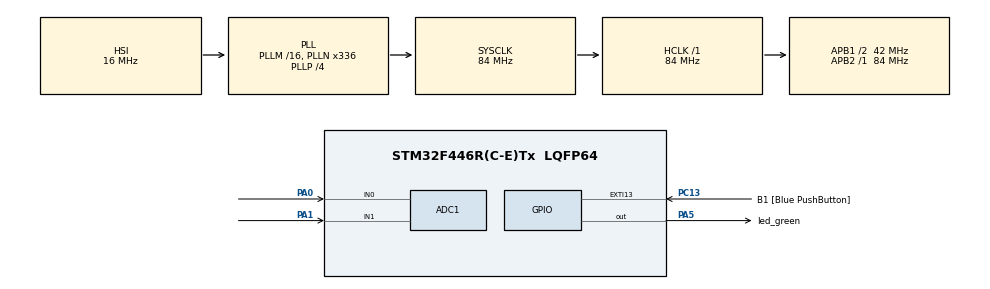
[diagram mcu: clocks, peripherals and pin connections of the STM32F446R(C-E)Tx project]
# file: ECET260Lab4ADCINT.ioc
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ADC1.Channel-3\#ChannelRegularConversion=ADC_CHANNEL_0
ADC1.Channel-4\#ChannelRegularConversion=ADC_CHANNEL_1
ADC1.Channel-5\#ChannelRegularConversion=ADC_CHANNEL_TEMPSENSOR
ADC1.NbrOfConversion=3
ADC1.NbrOfConversionFlag=1
ADC1.Rank-3\#ChannelRegularConversion=1
ADC1.Rank-4\#ChannelRegularConversion=2
ADC1.Rank-5\#ChannelRegularConversion=3
ADC1.SamplingTime-3\#ChannelRegularConversion=ADC_SAMPLETIME_84CYCLES
ADC1.SamplingTime-4\#ChannelRegularConversion=ADC_SAMPLETIME_84CYCLES
ADC1.SamplingTime-5\#ChannelRegularConversion=ADC_SAMPLETIME_84CYCLES
ADC1.master=1
Mcu.Family=STM32F4
Mcu.Name=STM32F446R(C-E)Tx
Mcu.Package=LQFP64
NVIC.ADC_IRQn=true\:0\:0\:false\:false\:true\:true\:true\:true
NVIC.PriorityGroup=NVIC_PRIORITYGROUP_0
PA0-WKUP.Signal=ADCx_IN0
PA1.Signal=ADCx_IN1
PA13.GPIO_Label=TMS
PA13.Mode=Trace_Asynchronous_SW
PA13.Signal=SYS_JTMS-SWDIO
PA14.GPIO_Label=TCK
PA14.Mode=Trace_Asynchronous_SW
PA14.Signal=SYS_JTCK-SWCLK
PA3.GPIO_Label=USART_RX
PA3.Signal=USART2_RX
PA5.GPIO_Label=led_green
PA5.Signal=GPIO_Output
PB3.GPIO_Label=SWO
PB3.Mode=Trace_Asynchronous_SW
PB3.Signal=SYS_JTDO-SWO
PC13.GPIO_Label=B1 [Blue PushButton]
PC13.GPIO_ModeDefaultEXTI=GPIO_MODE_IT_FALLING
PC13.Signal=GPXTI13
PC14-OSC32_IN.Mode=LSE-External-Oscillator
PC14-OSC32_IN.Signal=RCC_OSC32_IN
PC15-OSC32_OUT.Mode=LSE-External-Oscillator
PC15-OSC32_OUT.Signal=RCC_OSC32_OUT
PH0-OSC_IN.Mode=HSE-External-Oscillator
PH0-OSC_IN.Signal=RCC_OSC_IN
PH1-OSC_OUT.Mode=HSE-External-Oscillator
PH1-OSC_OUT.Signal=RCC_OSC_OUT
ProjectManager.HeapSize=0x200
ProjectManager.StackSize=0x400
ProjectManager.TargetToolchain=STM32CubeIDE
RCC.48MHZClocksFreq_Value=84000000
RCC.AHBFreq_Value=84000000
RCC.APB1CLKDivider=RCC_HCLK_DIV2
RCC.APB1Freq_Value=42000000
RCC.APB1TimFreq_Value=84000000
RCC.APB2Freq_Value=84000000
RCC.APB2TimFreq_Value=84000000
RCC.CortexFreq_Value=84000000
RCC.FLatency-AdvancedSettings=FLASH_LATENCY_2
RCC.HCLKFreq_Value=84000000
RCC.HSE_VALUE=8000000
RCC.HSI_VALUE=16000000
RCC.PLLN=336
RCC.PLLP=RCC_PLLP_DIV4
RCC.SYSCLKFreq_VALUE=84000000
RCC.SYSCLKSource=RCC_SYSCLKSOURCE_PLLCLK
RCC.USBFreq_Value=168000000
RCC.VCOOutputFreq_Value=336000000
SH.ADCx_IN0.0=ADC1_IN0,IN0
SH.ADCx_IN1.0=ADC1_IN1,IN1
VP_ADC1_TempSens_Input.Mode=IN-TempSens
board=NUCLEO-F446RE

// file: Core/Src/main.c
/* USER CODE BEGIN Header */
/**
  ******************************************************************************
  * @file           : main.c
  * @brief          : Main program body
  ******************************************************************************
  * @attention
  *
  * Copyright (c) 2023 STMicroelectronics.
  * All rights reserved.
  *
  * This software is licensed under terms that can be found in the LICENSE file
  * in the root directory of this software component.
  * If no LICENSE file comes with this software, it is provided AS-IS.
  *
  ******************************************************************************
  */
/* USER CODE END Header */
#include "main.h"

ADC_HandleTypeDef hadc1;

/* USER CODE BEGIN PV */
uint16_t adcResults[3];

uint16_t ledBlinkDelay = 250;
int32_t ledBlinkTimerStart = -1;
uint8_t ledBlinkState = 0;

uint16_t adcMeasureDelay = 1000;
int32_t adcMeasureTimerStart = -1;

uint16_t printDelay = 1000;
int32_t printTimerStart = -1;

/* USER CODE END PV */

void SystemClock_Config(void);
static void MX_GPIO_Init(void);
static void MX_ADC1_Init(void);

int main(void)
{

  /* MCU Configuration--------------------------------------------------------*/

  /* Reset of all peripherals, Initializes the Flash interface and the Systick. */
  HAL_Init();

  /* Configure the system clock */
  SystemClock_Config();

  /* Initialize all configured peripherals */
  MX_GPIO_Init();
  MX_ADC1_Init();

  /* Infinite loop */
  /* USER CODE BEGIN WHILE */
  while (1)
  {
	  if(uwTick >= (ledBlinkTimerStart + ledBlinkDelay)){
		  ledBlinkState = !ledBlinkState;
		  if(ledBlinkState){
			  HAL_GPIO_WritePin(led_green_GPIO_Port, led_green_Pin, GPIO_PIN_SET);
		  }else{
			  HAL_GPIO_WritePin(led_green_GPIO_Port, led_green_Pin, GPIO_PIN_RESET);
		  }
		  ledBlinkTimerStart = uwTick;

	  }
	  if(uwTick >= (adcMeasureTimerStart + adcMeasureDelay)){
		  //Start ADC
		  HAL_ADC_Start_IT(&hadc1);
		  adcMeasureTimerStart = uwTick;
	  }
	  if(uwTick >= (printTimerStart + printDelay)){
		  printTimerStart = uwTick;
		  //printf
	  }
    /* USER CODE END WHILE */

  }
}

void SystemClock_Config(void)
{
  RCC_OscInitTypeDef RCC_OscInitStruct = {0};
  RCC_ClkInitTypeDef RCC_ClkInitStruct = {0};

  /** Configure the main internal regulator output voltage
  */
  __HAL_RCC_PWR_CLK_ENABLE();
  __HAL_PWR_VOLTAGESCALING_CONFIG(PWR_REGULATOR_VOLTAGE_SCALE3);

  /** Initializes the RCC Oscillators according to the specified parameters
  * in the RCC_OscInitTypeDef structure.
  */
  RCC_OscInitStruct.OscillatorType = RCC_OSCILLATORTYPE_HSI;
  RCC_OscInitStruct.HSIState = RCC_HSI_ON;
  RCC_OscInitStruct.HSICalibrationValue = RCC_HSICALIBRATION_DEFAULT;
  RCC_OscInitStruct.PLL.PLLState = RCC_PLL_ON;
  RCC_OscInitStruct.PLL.PLLSource = RCC_PLLSOURCE_HSI;
  RCC_OscInitStruct.PLL.PLLM = 16;
  RCC_OscInitStruct.PLL.PLLN = 336;
  RCC_OscInitStruct.PLL.PLLP = RCC_PLLP_DIV4;
  RCC_OscInitStruct.PLL.PLLQ = 2;
  RCC_OscInitStruct.PLL.PLLR = 2;
  if (HAL_RCC_OscConfig(&RCC_OscInitStruct) != HAL_OK)
  {
    Error_Handler();
  }

  /** Initializes the CPU, AHB and APB buses clocks
  */
  RCC_ClkInitStruct.ClockType = RCC_CLOCKTYPE_HCLK|RCC_CLOCKTYPE_SYSCLK
                              |RCC_CLOCKTYPE_PCLK1|RCC_CLOCKTYPE_PCLK2;
  RCC_ClkInitStruct.SYSCLKSource = RCC_SYSCLKSOURCE_PLLCLK;
  RCC_ClkInitStruct.AHBCLKDivider = RCC_SYSCLK_DIV1;
  RCC_ClkInitStruct.APB1CLKDivider = RCC_HCLK_DIV2;
  RCC_ClkInitStruct.APB2CLKDivider = RCC_HCLK_DIV1;

  if (HAL_RCC_ClockConfig(&RCC_ClkInitStruct, FLASH_LATENCY_2) != HAL_OK)
  {
    Error_Handler();
  }
}

static void MX_ADC1_Init(void)
{

  ADC_ChannelConfTypeDef sConfig = {0};

  /** Configure the global features of the ADC (Clock, Resolution, Data Alignment and number of conversion)
  */
  hadc1.Instance = ADC1;
  hadc1.Init.ClockPrescaler = ADC_CLOCK_SYNC_PCLK_DIV4;
  hadc1.Init.Resolution = ADC_RESOLUTION_12B;
  hadc1.Init.ScanConvMode = ENABLE;
  hadc1.Init.ContinuousConvMode = DISABLE;
  hadc1.Init.DiscontinuousConvMode = DISABLE;
  hadc1.Init.ExternalTrigConvEdge = ADC_EXTERNALTRIGCONVEDGE_NONE;
  hadc1.Init.ExternalTrigConv = ADC_SOFTWARE_START;
  hadc1.Init.DataAlign = ADC_DATAALIGN_RIGHT;
  hadc1.Init.NbrOfConversion = 3;
  hadc1.Init.DMAContinuousRequests = DISABLE;
  hadc1.Init.EOCSelection = ADC_EOC_SINGLE_CONV;
  if (HAL_ADC_Init(&hadc1) != HAL_OK)
  {
    Error_Handler();
  }

  /** Configure for the selected ADC regular channel its corresponding rank in the sequencer and its sample time.
  */
  sConfig.Channel = ADC_CHANNEL_0;
  sConfig.Rank = 1;
  sConfig.SamplingTime = ADC_SAMPLETIME_84CYCLES;
  if (HAL_ADC_ConfigChannel(&hadc1, &sConfig) != HAL_OK)
  {
    Error_Handler();
  }

  /** Configure for the selected ADC regular channel its corresponding rank in the sequencer and its sample time.
  */
  sConfig.Channel = ADC_CHANNEL_1;
  sConfig.Rank = 2;
  if (HAL_ADC_ConfigChannel(&hadc1, &sConfig) != HAL_OK)
  {
    Error_Handler();
  }

  /** Configure for the selected ADC regular channel its corresponding rank in the sequencer and its sample time.
  */
  sConfig.Channel = ADC_CHANNEL_TEMPSENSOR;
  sConfig.Rank = 3;
  if (HAL_ADC_ConfigChannel(&hadc1, &sConfig) != HAL_OK)
  {
    Error_Handler();
  }

}

static void MX_GPIO_Init(void)
{
  GPIO_InitTypeDef GPIO_InitStruct = {0};

  /* GPIO Ports Clock Enable */
  __HAL_RCC_GPIOC_CLK_ENABLE();
  __HAL_RCC_GPIOH_CLK_ENABLE();
  __HAL_RCC_GPIOA_CLK_ENABLE();
  __HAL_RCC_GPIOB_CLK_ENABLE();

  /*Configure GPIO pin Output Level */
  HAL_GPIO_WritePin(led_green_GPIO_Port, led_green_Pin, GPIO_PIN_RESET);

  /*Configure GPIO pin : B1_Pin */
  GPIO_InitStruct.Pin = B1_Pin;
  GPIO_InitStruct.Mode = GPIO_MODE_IT_FALLING;
  GPIO_InitStruct.Pull = GPIO_NOPULL;
  HAL_GPIO_Init(B1_GPIO_Port, &GPIO_InitStruct);

  /*Configure GPIO pin : USART_RX_Pin */
  GPIO_InitStruct.Pin = USART_RX_Pin;
  GPIO_InitStruct.Mode = GPIO_MODE_AF_PP;
  GPIO_InitStruct.Pull = GPIO_NOPULL;
  GPIO_InitStruct.Speed = GPIO_SPEED_FREQ_VERY_HIGH;
  GPIO_InitStruct.Alternate = GPIO_AF7_USART2;
  HAL_GPIO_Init(USART_RX_GPIO_Port, &GPIO_InitStruct);

  /*Configure GPIO pin : led_green_Pin */
  GPIO_InitStruct.Pin = led_green_Pin;
  GPIO_InitStruct.Mode = GPIO_MODE_OUTPUT_PP;
  GPIO_InitStruct.Pull = GPIO_NOPULL;
  GPIO_InitStruct.Speed = GPIO_SPEED_FREQ_LOW;
  HAL_GPIO_Init(led_green_GPIO_Port, &GPIO_InitStruct);

}

/* USER CODE BEGIN 4 */

void HAL_ADC_ConvCpltCallback(ADC_HandleTypeDef* hadc){
	static int count;
	adcResults[count] = HAL_ADC_GetValue(&hadc1);
	count ++;
	if(count > 2){
		count=0;
	}
}

/* USER CODE END 4 */

void Error_Handler(void)
{
  __disable_irq();
  while (1)
  {
  }
}
